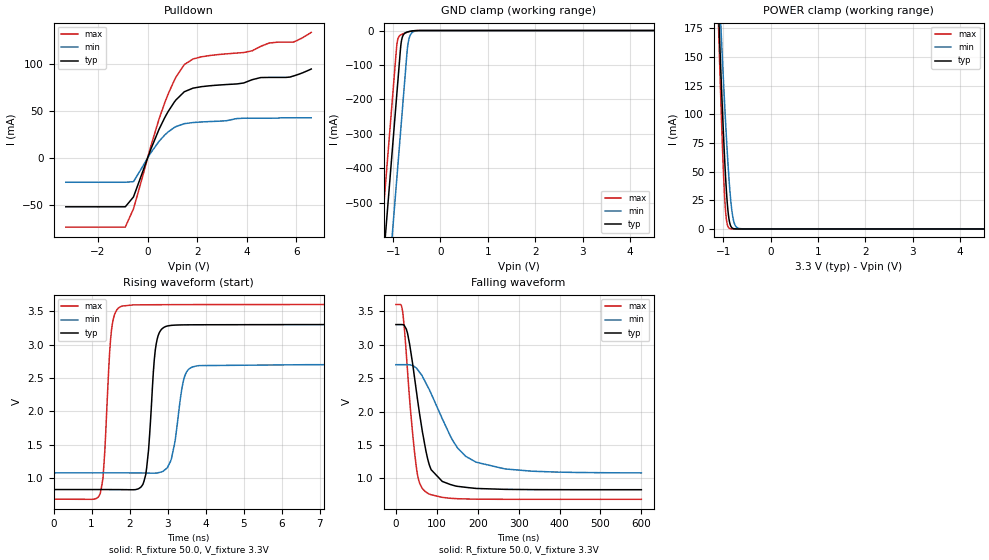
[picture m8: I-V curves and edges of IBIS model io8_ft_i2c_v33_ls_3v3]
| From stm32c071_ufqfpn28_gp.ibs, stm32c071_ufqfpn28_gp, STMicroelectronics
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[Model]   io8_ft_i2c_v33_ls_3v3
Model_type I/O_open_drain
Polarity   Non-Inverting
Enable   Active-Low
| CAP_THRESHOLD on pad IOFT is "UDTCAPC" :
| Rising=30.0% of vddiom   Falling=70.0% of vddiom
| C_comp min and max val. don't necessarily correlate with the min and max pvt
| but are the smallest and greatest pad capacitance found.
| var   typ   min   max
C_comp   2.42806pF  2.37063pF  2.44147pF
|C_comp_pulldown   2.42806pF  2.37063pF  2.44147pF
Vinl = 1.35V
Vinh = 1.8V
Vmeas = 1.65V   | Reference voltage for timing measurements
Cref  = 50.0pF   | Timing specification test load capacitance value
Rref  = 1.0MOhm   | Timing specification test load resistance value
Vref  = 1.815V   | Timing specification test load voltage
[Model Spec]
| TIME_THRESHOLD on pin ZII2CV12 is "CMOS" :
| Rising=50.0% of vdd   Falling=50.0% of vdd
Vinl 1.34770V 1.11370V 1.44970V
Vinh 1.77530V 1.49530V 1.90330V
| variable   typ   min   max
[Temperature Range] 25.0 125.0 -40.0
| variable   typ   min   max
[Voltage Range] 3.3V 2.7V 3.6V
| variable   typ   min   max
[POWER Clamp Reference] 3.3V 2.7V 3.6V
| variable   typ   min   max
[GND Clamp Reference] 0V 0V 0V
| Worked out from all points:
|   slope of the pulldown table from 0 to 0.495 V, typ, clamps not added: 15.4 ohm
|   GND clamp passes 1 mA (typ) near -0.58 V on its own axis
|   POWER clamp passes 1 mA (typ) near -0.81 V on its own axis
|   rising waveform, R_fixture 50.0, V_fixture 3.3V: 20-80 % time 175ps typ, 244ps min, 160ps max; typ from 0.831 V to 3.3 V
|   falling waveform, R_fixture 50.0, V_fixture 3.3V: 20-80 % time 37.8ns typ, 81.1ns min, 24.3ns max; typ from 3.3 V to 0.831 V
[POWER Clamp]
-3.3V     2.991A     2.543A     3.694A
-1.1V     191.1mA    222.7mA    177.1mA
-1.08V    169mA      204.2mA    149.9mA
-1.05V    136.9mA    176.9mA    110.9mA
-1.01V    96.55mA    141.6mA    64.02mA
-970mV    60.39mA    108.2mA    27.41mA
-930mV    31.08mA    77.43mA    7.282mA
-900mV    15.67mA    56.69mA    2.025mA
-860mV    4.779mA    33.42mA    315.2uA
-780mV    272.1uA    6.953mA    6.98uA
-670mV    4.467uA    374.2uA    36.58nA
6.6V      0A         0A         0A
[GND Clamp]
-3.3V     -4.227A    -4.472A    -4.082A
-1.25V    -742.2mA   -986.7mA   -597.4mA
-930mV    -198.2mA   -442.7mA   -53.39mA
-920mV    -181.2mA   -425.7mA   -39.67mA
-890mV    -130.2mA   -374.7mA   -20.93mA
-830mV    -35.33mA   -272.7mA   -12.06mA
-790mV    -14.13mA   -204.7mA   -9.442mA
-720mV    -5.312mA   -85.66mA   -5.702mA
-690mV    -3.888mA   -42.66mA   -4.338mA
-650mV    -2.529mA   -17.47mA   -2.784mA
-480mV    -113.2uA   -479.8uA   -69.15uA
6.6V      942.9pA    93.37nA    678.9pA
| variable   typ   min   max
[Pullup Reference] 3.3V 2.7V 3.6V
| variable   typ   min   max
[Pulldown Reference] 0V 0V 0V
[Pulldown]
-3.3V     -51.88mA   -25.81mA   -73.46mA
-900mV    -51.88mA   -25.81mA   -73.32mA
-570mV    -41.39mA   -25.18mA   -53.99mA
120mV     8.622mA    5.148mA    11.58mA
690mV     42.7mA     24.28mA    58.45mA
1.08V     59.39mA    32.34mA    82.54mA
1.48V     70.24mA    36.36mA    99.08mA
2.17V     75.62mA    38.17mA    107.3mA
3.88V     79.57mA    42.16mA    111.9mA
4.9V      85.45mA    42.16mA    121.9mA
5.88V     86.9mA     42.6mA     122.9mA
6.6V      94.4mA     42.6mA     133.3mA
[Ramp]
dV/dt_r 1.48134V/174.03696ps 971.10761mV/242.71871ps 1.74774V/157.85044ps
dV/dt_f 1.48133V/37.76438ns 970.54399mV/81.05605ns 1.74774V/24.29274ns
R_load = 50.0
| Removed startup time: 0s 0s 0s  .
| Removed end time: 59.875ns.
[Rising Waveform]
R_fixture   = 50.0
V_fixture   = 3.3V
V_fixture_min = 2.7V
V_fixture_max = 3.6V
0s        831.1mV    1.081V     687.1mV
1.225ns   831.1mV    1.081V     764.3mV
1.55ns    830.8mV    1.081V     3.319V
2.075ns   828.2mV    1.08V      3.593V
2.425ns   1.053V     1.078V     3.596V
2.725ns   3.08V      1.078V     3.597V
3.1ns     3.288V     1.291V     3.597V
3.425ns   3.295V     2.481V     3.598V
3.825ns   3.297V     2.686V     3.599V
59.87ns   3.3V       2.7V       3.6V
| Removed startup time: 0s 0s 0s  .
| Removed end time: 599.875ns.
[Falling Waveform]
R_fixture   = 50.0
V_fixture   = 3.3V
V_fixture_min = 2.7V
V_fixture_max = 3.6V
0s        3.3V       2.7V       3.6V
14.78ns   3.3V       2.7V       3.554V
28.52ns   3.166V     2.7V       2.595V
50.78ns   2.271V     2.644V     1.13V
72.15ns   1.449V     2.439V     801.6mV
86.15ns   1.13V      2.267V     755.8mV
113.3ns   954.5mV    1.891V     716.6mV
150.5ns   881.6mV    1.456V     696.5mV
195.6ns   850.1mV    1.244V     689.5mV
599.9ns   831.1mV    1.082V     687.1mV
